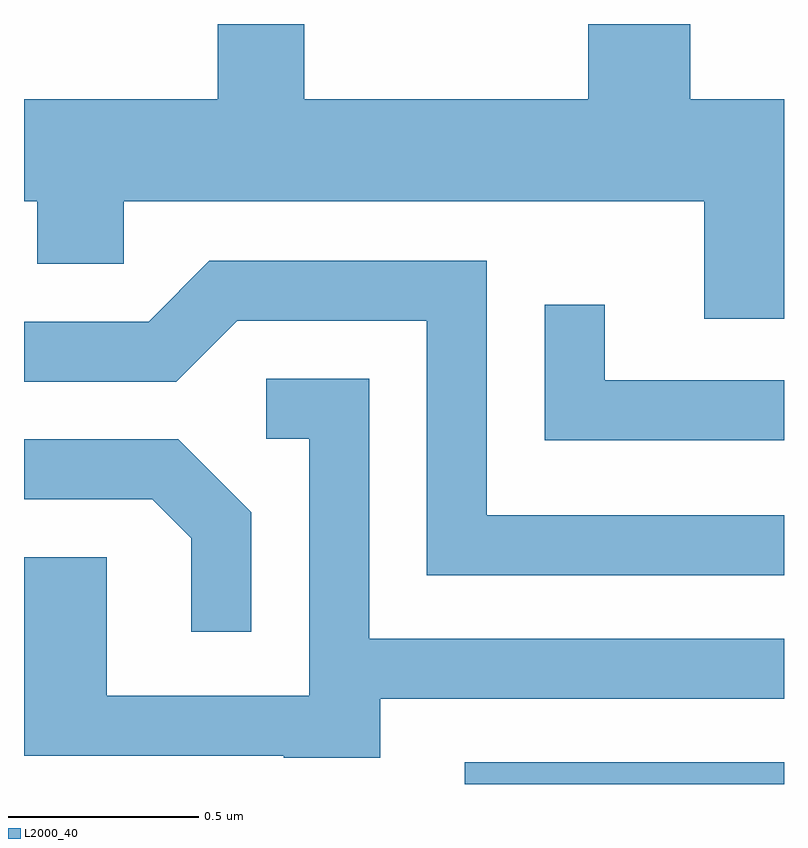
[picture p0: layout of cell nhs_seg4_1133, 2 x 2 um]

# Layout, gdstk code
import gdstk
lib = gdstk.Library(unit=1e-6, precision=1e-09)
def R(c, l, rs):  # rectangles x0, y0, x1, y1
    for r in rs: c.add(gdstk.rectangle(r[:2], r[2:], *l))
def P(c, l, *ps):  # polygons
    for p in ps: c.add(gdstk.Polygon(p, *l))
L2000_40 = (2000, 40)

nhs_seg4_1133 = lib.new_cell('nhs_seg4_1133')
R(nhs_seg4_1133, L2000_40, [(194.771,1290.982,195.611,1291.039)])
P(nhs_seg4_1133, L2000_40, [(195.611,1292.784),(195.364,1292.784),(195.364,1292.982),(195.096,1292.982),(195.096,1292.784),(194.349,1292.784),(194.349,1292.982),(194.121,1292.982),(194.121,1292.784),(193.611,1292.784),(193.611,1292.516),(193.646,1292.516),(193.646,1292.351),(193.874,1292.351),(193.874,1292.516),(195.401,1292.516),(195.401,1292.206),(195.611,1292.206)],
  [(195.611,1291.689),(194.829,1291.689),(194.829,1292.359),(194.099,1292.359),(193.939,1292.199),(193.611,1292.199),(193.611,1292.041),(194.012,1292.041),(194.172,1292.201),(194.671,1292.201),(194.671,1291.531),(195.611,1291.531)],
  [(195.611,1292.044),(195.139,1292.044),(195.139,1292.243),(194.981,1292.243),(194.981,1291.886),(195.611,1291.886)],
  [(194.549,1291.206),(195.611,1291.206),(195.611,1291.364),(194.519,1291.364),(194.519,1292.049),(194.248,1292.049),(194.248,1291.891),(194.361,1291.891),(194.361,1291.214),(193.829,1291.214),(193.829,1291.579),(193.611,1291.579),(193.611,1291.056),(194.295,1291.056),(194.295,1291.051),(194.549,1291.051)],
  [(194.209,1291.697),(194.017,1291.889),(193.611,1291.889),(193.611,1291.731),(193.949,1291.731),(194.051,1291.629),(194.051,1291.383),(194.209,1291.383)])

lib.write_gds('nhs_seg4_1133.gds')
